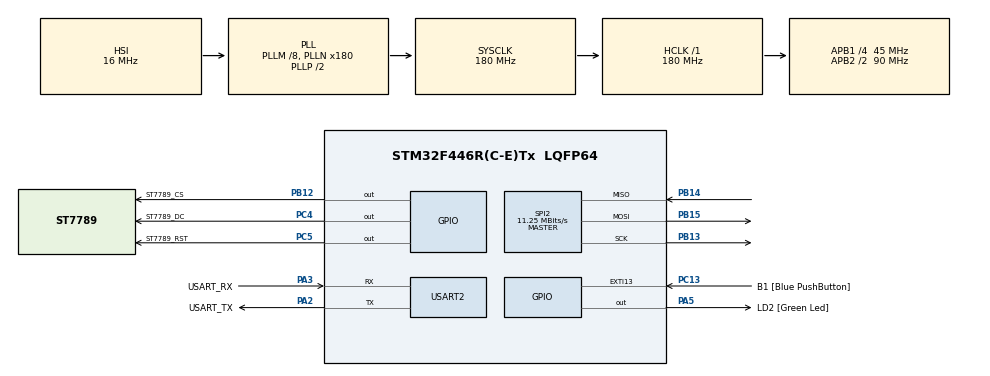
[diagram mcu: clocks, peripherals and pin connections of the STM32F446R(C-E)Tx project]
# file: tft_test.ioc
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Dma.Request0=SPI2_TX
Dma.SPI2_TX.0.Direction=DMA_MEMORY_TO_PERIPH
Dma.SPI2_TX.0.FIFOMode=DMA_FIFOMODE_DISABLE
Dma.SPI2_TX.0.Instance=DMA1_Stream4
Dma.SPI2_TX.0.MemDataAlignment=DMA_MDATAALIGN_BYTE
Dma.SPI2_TX.0.MemInc=DMA_MINC_ENABLE
Dma.SPI2_TX.0.Mode=DMA_NORMAL
Dma.SPI2_TX.0.PeriphDataAlignment=DMA_PDATAALIGN_BYTE
Dma.SPI2_TX.0.PeriphInc=DMA_PINC_DISABLE
Dma.SPI2_TX.0.Priority=DMA_PRIORITY_HIGH
Mcu.Family=STM32F4
Mcu.Name=STM32F446R(C-E)Tx
Mcu.Package=LQFP64
NVIC.DMA1_Stream4_IRQn=true\:0\:0\:false\:false\:true\:false\:true\:true
NVIC.PriorityGroup=NVIC_PRIORITYGROUP_0
PA13.GPIO_Label=TMS
PA13.Mode=Serial_Wire
PA13.Signal=SYS_JTMS-SWDIO
PA14.GPIO_Label=TCK
PA14.Mode=Serial_Wire
PA14.Signal=SYS_JTCK-SWCLK
PA2.GPIO_Label=USART_TX
PA2.Mode=Asynchronous
PA2.Signal=USART2_TX
PA3.GPIO_Label=USART_RX
PA3.Mode=Asynchronous
PA3.Signal=USART2_RX
PA5.GPIO_Label=LD2 [Green Led]
PA5.Signal=GPIO_Output
PB12.GPIO_Label=ST7789_CS
PB12.GPIO_Speed=GPIO_SPEED_FREQ_HIGH
PB12.PinState=GPIO_PIN_SET
PB12.Signal=GPIO_Output
PB13.Mode=Full_Duplex_Master
PB13.Signal=SPI2_SCK
PB14.Mode=Full_Duplex_Master
PB14.Signal=SPI2_MISO
PB15.Mode=Full_Duplex_Master
PB15.Signal=SPI2_MOSI
PB3.GPIO_Label=SWO
PB3.Signal=SYS_JTDO-SWO
PC13.GPIO_Label=B1 [Blue PushButton]
PC13.GPIO_ModeDefaultEXTI=GPIO_MODE_IT_FALLING
PC13.Signal=GPXTI13
PC14-OSC32_IN.Mode=LSE-External-Oscillator
PC14-OSC32_IN.Signal=RCC_OSC32_IN
PC15-OSC32_OUT.Mode=LSE-External-Oscillator
PC15-OSC32_OUT.Signal=RCC_OSC32_OUT
PC4.GPIO_Label=ST7789_DC
PC4.GPIO_Speed=GPIO_SPEED_FREQ_HIGH
PC4.Signal=GPIO_Output
PC5.GPIO_Label=ST7789_RST
PC5.GPIO_Speed=GPIO_SPEED_FREQ_HIGH
PC5.Signal=GPIO_Output
PH0-OSC_IN.Mode=HSE-External-Oscillator
PH0-OSC_IN.Signal=RCC_OSC_IN
PH1-OSC_OUT.Mode=HSE-External-Oscillator
PH1-OSC_OUT.Signal=RCC_OSC_OUT
ProjectManager.HeapSize=0x200
ProjectManager.StackSize=0x400
ProjectManager.TargetToolchain=STM32CubeIDE
RCC.48MHZClocksFreq_Value=84000000
RCC.AHBFreq_Value=180000000
RCC.APB1CLKDivider=RCC_HCLK_DIV4
RCC.APB1Freq_Value=45000000
RCC.APB1TimFreq_Value=90000000
RCC.APB2CLKDivider=RCC_HCLK_DIV2
RCC.APB2Freq_Value=90000000
RCC.APB2TimFreq_Value=180000000
RCC.CortexFreq_Value=180000000
RCC.FLatency-AdvancedSettings=FLASH_LATENCY_5
RCC.HCLKFreq_Value=180000000
RCC.HSE_VALUE=8000000
RCC.HSI_VALUE=16000000
RCC.PLLM=8
RCC.PLLN=180
RCC.SYSCLKFreq_VALUE=180000000
RCC.SYSCLKSource=RCC_SYSCLKSOURCE_PLLCLK
RCC.USBFreq_Value=180000000
RCC.VCOOutputFreq_Value=360000000
SPI2.BaudRatePrescaler=SPI_BAUDRATEPRESCALER_4
SPI2.CalculateBaudRate=11.25 MBits/s
SPI2.Direction=SPI_DIRECTION_2LINES
SPI2.Mode=SPI_MODE_MASTER
SPI2.VirtualType=VM_MASTER
USART2.VirtualMode=VM_ASYNC
board=NUCLEO-F446RE

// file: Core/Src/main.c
/* USER CODE BEGIN Header */
/**
  ******************************************************************************
  * @file           : main.c
  * @brief          : Main program body
  ******************************************************************************
  * @attention
  *
  * Copyright (c) 2026 STMicroelectronics.
  * All rights reserved.
  *
  * This software is licensed under terms that can be found in the LICENSE file
  * in the root directory of this software component.
  * If no LICENSE file comes with this software, it is provided AS-IS.
  *
  ******************************************************************************
  */
/* USER CODE END Header */
#include "main.h"

/* USER CODE BEGIN Includes */
#include "st7789.h"
#include <stdio.h>
#include "image.h"

/* USER CODE END Includes */

SPI_HandleTypeDef hspi2;
DMA_HandleTypeDef hdma_spi2_tx;

UART_HandleTypeDef huart2;

void SystemClock_Config(void);
static void MX_GPIO_Init(void);
static void MX_DMA_Init(void);
static void MX_USART2_UART_Init(void);
static void MX_SPI2_Init(void);

/* USER CODE BEGIN 0 */
int _write(int file, char *ptr, int len)
{
    HAL_UART_Transmit(
        &huart2,
        (uint8_t *)ptr,
        len,
        HAL_MAX_DELAY
    );

    return len;
}
/* USER CODE END 0 */

int main(void)
{

  /* MCU Configuration--------------------------------------------------------*/

  /* Reset of all peripherals, Initializes the Flash interface and the Systick. */
  HAL_Init();

  /* Configure the system clock */
  SystemClock_Config();

  /* Initialize all configured peripherals */
  MX_GPIO_Init();
  MX_DMA_Init();
  MX_USART2_UART_Init();
  MX_SPI2_Init();
  /* USER CODE BEGIN 2 */
  ST7789_Init();

  /* USER CODE END 2 */

  /* Infinite loop */
  while (1)
  {

    /* USER CODE BEGIN 3 */
	  HAL_Delay(1000);
	  uint32_t start;

	  start = HAL_GetTick();

	  ST7789_Fill_Color(RED);

	  printf("Fill time: %lu ms\r\n",
	         HAL_GetTick() - start);
	  HAL_Delay(1000);
	  ST7789_Fill_Color(BLACK);

	  start = HAL_GetTick();

	  ST7789_DrawImage(
	          0,
	          0,
	          IMAGE_WIDTH,
	          IMAGE_HEIGHT,
	          image_data);

	  printf("Image time: %lu ms\r\n",
	         HAL_GetTick() - start);
	  HAL_Delay(1000);

  }
  /* USER CODE END 3 */
}

void SystemClock_Config(void)
{
  RCC_OscInitTypeDef RCC_OscInitStruct = {0};
  RCC_ClkInitTypeDef RCC_ClkInitStruct = {0};

  /** Configure the main internal regulator output voltage
  */
  __HAL_RCC_PWR_CLK_ENABLE();
  __HAL_PWR_VOLTAGESCALING_CONFIG(PWR_REGULATOR_VOLTAGE_SCALE1);

  /** Initializes the RCC Oscillators according to the specified parameters
  * in the RCC_OscInitTypeDef structure.
  */
  RCC_OscInitStruct.OscillatorType = RCC_OSCILLATORTYPE_HSI;
  RCC_OscInitStruct.HSIState = RCC_HSI_ON;
  RCC_OscInitStruct.HSICalibrationValue = RCC_HSICALIBRATION_DEFAULT;
  RCC_OscInitStruct.PLL.PLLState = RCC_PLL_ON;
  RCC_OscInitStruct.PLL.PLLSource = RCC_PLLSOURCE_HSI;
  RCC_OscInitStruct.PLL.PLLM = 8;
  RCC_OscInitStruct.PLL.PLLN = 180;
  RCC_OscInitStruct.PLL.PLLP = RCC_PLLP_DIV2;
  RCC_OscInitStruct.PLL.PLLQ = 2;
  RCC_OscInitStruct.PLL.PLLR = 2;
  if (HAL_RCC_OscConfig(&RCC_OscInitStruct) != HAL_OK)
  {
    Error_Handler();
  }

  /** Activate the Over-Drive mode
  */
  if (HAL_PWREx_EnableOverDrive() != HAL_OK)
  {
    Error_Handler();
  }

  /** Initializes the CPU, AHB and APB buses clocks
  */
  RCC_ClkInitStruct.ClockType = RCC_CLOCKTYPE_HCLK|RCC_CLOCKTYPE_SYSCLK
                              |RCC_CLOCKTYPE_PCLK1|RCC_CLOCKTYPE_PCLK2;
  RCC_ClkInitStruct.SYSCLKSource = RCC_SYSCLKSOURCE_PLLCLK;
  RCC_ClkInitStruct.AHBCLKDivider = RCC_SYSCLK_DIV1;
  RCC_ClkInitStruct.APB1CLKDivider = RCC_HCLK_DIV4;
  RCC_ClkInitStruct.APB2CLKDivider = RCC_HCLK_DIV2;

  if (HAL_RCC_ClockConfig(&RCC_ClkInitStruct, FLASH_LATENCY_5) != HAL_OK)
  {
    Error_Handler();
  }
}

static void MX_SPI2_Init(void)
{

  /* SPI2 parameter configuration*/
  hspi2.Instance = SPI2;
  hspi2.Init.Mode = SPI_MODE_MASTER;
  hspi2.Init.Direction = SPI_DIRECTION_2LINES;
  hspi2.Init.DataSize = SPI_DATASIZE_8BIT;
  hspi2.Init.CLKPolarity = SPI_POLARITY_LOW;
  hspi2.Init.CLKPhase = SPI_PHASE_1EDGE;
  hspi2.Init.NSS = SPI_NSS_SOFT;
  hspi2.Init.BaudRatePrescaler = SPI_BAUDRATEPRESCALER_2;
  hspi2.Init.FirstBit = SPI_FIRSTBIT_MSB;
  hspi2.Init.TIMode = SPI_TIMODE_DISABLE;
  hspi2.Init.CRCCalculation = SPI_CRCCALCULATION_DISABLE;
  hspi2.Init.CRCPolynomial = 10;
  if (HAL_SPI_Init(&hspi2) != HAL_OK)
  {
    Error_Handler();
  }

}

static void MX_USART2_UART_Init(void)
{

  huart2.Instance = USART2;
  huart2.Init.BaudRate = 115200;
  huart2.Init.WordLength = UART_WORDLENGTH_8B;
  huart2.Init.StopBits = UART_STOPBITS_1;
  huart2.Init.Parity = UART_PARITY_NONE;
  huart2.Init.Mode = UART_MODE_TX_RX;
  huart2.Init.HwFlowCtl = UART_HWCONTROL_NONE;
  huart2.Init.OverSampling = UART_OVERSAMPLING_16;
  if (HAL_UART_Init(&huart2) != HAL_OK)
  {
    Error_Handler();
  }

}

static void MX_DMA_Init(void)
{

  /* DMA controller clock enable */
  __HAL_RCC_DMA1_CLK_ENABLE();

  /* DMA interrupt init */
  /* DMA1_Stream4_IRQn interrupt configuration */
  HAL_NVIC_SetPriority(DMA1_Stream4_IRQn, 0, 0);
  HAL_NVIC_EnableIRQ(DMA1_Stream4_IRQn);

}

static void MX_GPIO_Init(void)
{
  GPIO_InitTypeDef GPIO_InitStruct = {0};

  /* GPIO Ports Clock Enable */
  __HAL_RCC_GPIOC_CLK_ENABLE();
  __HAL_RCC_GPIOH_CLK_ENABLE();
  __HAL_RCC_GPIOA_CLK_ENABLE();
  __HAL_RCC_GPIOB_CLK_ENABLE();

  /*Configure GPIO pin Output Level */
  HAL_GPIO_WritePin(LD2_GPIO_Port, LD2_Pin, GPIO_PIN_RESET);

  /*Configure GPIO pin Output Level */
  HAL_GPIO_WritePin(GPIOC, ST7789_DC_Pin|ST7789_RST_Pin, GPIO_PIN_RESET);

  /*Configure GPIO pin Output Level */
  HAL_GPIO_WritePin(ST7789_CS_GPIO_Port, ST7789_CS_Pin, GPIO_PIN_SET);

  /*Configure GPIO pin : B1_Pin */
  GPIO_InitStruct.Pin = B1_Pin;
  GPIO_InitStruct.Mode = GPIO_MODE_IT_FALLING;
  GPIO_InitStruct.Pull = GPIO_NOPULL;
  HAL_GPIO_Init(B1_GPIO_Port, &GPIO_InitStruct);

  /*Configure GPIO pin : LD2_Pin */
  GPIO_InitStruct.Pin = LD2_Pin;
  GPIO_InitStruct.Mode = GPIO_MODE_OUTPUT_PP;
  GPIO_InitStruct.Pull = GPIO_NOPULL;
  GPIO_InitStruct.Speed = GPIO_SPEED_FREQ_LOW;
  HAL_GPIO_Init(LD2_GPIO_Port, &GPIO_InitStruct);

  /*Configure GPIO pins : ST7789_DC_Pin ST7789_RST_Pin */
  GPIO_InitStruct.Pin = ST7789_DC_Pin|ST7789_RST_Pin;
  GPIO_InitStruct.Mode = GPIO_MODE_OUTPUT_PP;
  GPIO_InitStruct.Pull = GPIO_NOPULL;
  GPIO_InitStruct.Speed = GPIO_SPEED_FREQ_HIGH;
  HAL_GPIO_Init(GPIOC, &GPIO_InitStruct);

  /*Configure GPIO pin : ST7789_CS_Pin */
  GPIO_InitStruct.Pin = ST7789_CS_Pin;
  GPIO_InitStruct.Mode = GPIO_MODE_OUTPUT_PP;
  GPIO_InitStruct.Pull = GPIO_NOPULL;
  GPIO_InitStruct.Speed = GPIO_SPEED_FREQ_HIGH;
  HAL_GPIO_Init(ST7789_CS_GPIO_Port, &GPIO_InitStruct);

}

void Error_Handler(void)
{
  __disable_irq();
  while (1)
  {
  }
}
